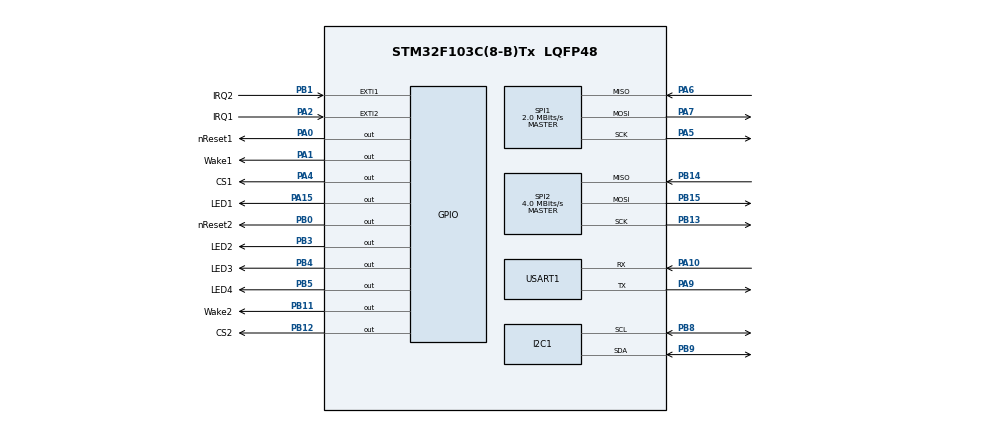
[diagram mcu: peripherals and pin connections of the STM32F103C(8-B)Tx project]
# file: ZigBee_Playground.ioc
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Mcu.Family=STM32F1
Mcu.Name=STM32F103C(8-B)Tx
Mcu.Package=LQFP48
NVIC.EXTI1_IRQn=true\:0\:0\:false\:false\:true\:true
NVIC.EXTI2_IRQn=true\:0\:0\:false\:false\:true\:true
NVIC.PriorityGroup=NVIC_PRIORITYGROUP_4
PA0-WKUP.GPIO_Label=nReset1
PA0-WKUP.Signal=GPIO_Output
PA1.GPIO_Label=Wake1
PA1.Signal=GPIO_Output
PA10.Mode=Asynchronous
PA10.Signal=USART1_RX
PA13.Mode=Serial_Wire
PA13.Signal=SYS_JTMS-SWDIO
PA14.Mode=Serial_Wire
PA14.Signal=SYS_JTCK-SWCLK
PA15.GPIO_Label=LED1
PA15.Signal=GPIO_Output
PA2.GPIO_Label=IRQ1
PA2.Signal=GPXTI2
PA4.GPIO_Label=CS1
PA4.Signal=GPIO_Output
PA5.Mode=Full_Duplex_Master
PA5.Signal=SPI1_SCK
PA6.Mode=Full_Duplex_Master
PA6.Signal=SPI1_MISO
PA7.Mode=Full_Duplex_Master
PA7.Signal=SPI1_MOSI
PA9.Mode=Asynchronous
PA9.Signal=USART1_TX
PB0.GPIO_Label=nReset2
PB0.Signal=GPIO_Output
PB1.GPIO_Label=IRQ2
PB1.Signal=GPXTI1
PB11.GPIO_Label=Wake2
PB11.Signal=GPIO_Output
PB12.GPIO_Label=CS2
PB12.Signal=GPIO_Output
PB13.Mode=Full_Duplex_Master
PB13.Signal=SPI2_SCK
PB14.Mode=Full_Duplex_Master
PB14.Signal=SPI2_MISO
PB15.Mode=Full_Duplex_Master
PB15.Signal=SPI2_MOSI
PB3.GPIO_Label=LED2
PB3.Signal=GPIO_Output
PB4.GPIO_Label=LED3
PB4.Signal=GPIO_Output
PB5.GPIO_Label=LED4
PB5.Signal=GPIO_Output
PB8.Mode=I2C
PB8.Signal=I2C1_SCL
PB9.Mode=I2C
PB9.Signal=I2C1_SDA
PD0-OSC_IN.Mode=HSE-External-Oscillator
PD0-OSC_IN.Signal=RCC_OSC_IN
PD1-OSC_OUT.Mode=HSE-External-Oscillator
PD1-OSC_OUT.Signal=RCC_OSC_OUT
ProjectManager.HeapSize=0x200
ProjectManager.StackSize=0x400
ProjectManager.TargetToolchain=MDK-ARM V5
RCC.APB1Freq_Value=8000000
RCC.APB2Freq_Value=8000000
SPI1.BaudRatePrescaler=SPI_BAUDRATEPRESCALER_4
SPI1.CalculateBaudRate=2.0 MBits/s
SPI1.Direction=SPI_DIRECTION_2LINES
SPI1.Mode=SPI_MODE_MASTER
SPI1.VirtualType=VM_MASTER
SPI2.CalculateBaudRate=4.0 MBits/s
SPI2.Direction=SPI_DIRECTION_2LINES
SPI2.Mode=SPI_MODE_MASTER
SPI2.VirtualType=VM_MASTER
USART1.VirtualMode=VM_ASYNC
board=ZigBee_Playground

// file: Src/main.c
/**
  ******************************************************************************
  * @file           : main.c
  * @brief          : Main program body
  ******************************************************************************
  ** This notice applies to any and all portions of this file
  * that are not between comment pairs USER CODE BEGIN and
  * USER CODE END. Other portions of this file, whether
  * inserted by the user or by software development tools
  * are owned by their respective copyright owners.
  *
  * COPYRIGHT(c) 2018 STMicroelectronics
  *
  * Redistribution and use in source and binary forms, with or without modification,
  * are permitted provided that the following conditions are met:
  *   1. Redistributions of source code must retain the above copyright notice,
  *      this list of conditions and the following disclaimer.
  *   2. Redistributions in binary form must reproduce the above copyright notice,
  *      this list of conditions and the following disclaimer in the documentation
  *      and/or other materials provided with the distribution.
  *   3. Neither the name of STMicroelectronics nor the names of its contributors
  *      may be used to endorse or promote products derived from this software
  *      without specific prior written permission.
  *
  * THIS SOFTWARE IS PROVIDED BY THE COPYRIGHT HOLDERS AND CONTRIBUTORS "AS IS"
  * AND ANY EXPRESS OR IMPLIED WARRANTIES, INCLUDING, BUT NOT LIMITED TO, THE
  * IMPLIED WARRANTIES OF MERCHANTABILITY AND FITNESS FOR A PARTICULAR PURPOSE ARE
  * DISCLAIMED. IN NO EVENT SHALL THE COPYRIGHT HOLDER OR CONTRIBUTORS BE LIABLE
  * FOR ANY DIRECT, INDIRECT, INCIDENTAL, SPECIAL, EXEMPLARY, OR CONSEQUENTIAL
  * DAMAGES (INCLUDING, BUT NOT LIMITED TO, PROCUREMENT OF SUBSTITUTE GOODS OR
  * SERVICES; LOSS OF USE, DATA, OR PROFITS; OR BUSINESS INTERRUPTION) HOWEVER
  * CAUSED AND ON ANY THEORY OF LIABILITY, WHETHER IN CONTRACT, STRICT LIABILITY,
  * OR TORT (INCLUDING NEGLIGENCE OR OTHERWISE) ARISING IN ANY WAY OUT OF THE USE
  * OF THIS SOFTWARE, EVEN IF ADVISED OF THE POSSIBILITY OF SUCH DAMAGE.
  *
  ******************************************************************************
  */
#include "main.h"
#include "stm32f1xx_hal.h"

/* USER CODE BEGIN Includes */
#include "MRF24J40.h"
#include "mrf24j40_memmap.h"
#include "mrf24j40if.h"
#include "lcd_i2c.h"
#include "string.h"
/* USER CODE END Includes */

I2C_HandleTypeDef hi2c1;

SPI_HandleTypeDef hspi1;
SPI_HandleTypeDef hspi2;

UART_HandleTypeDef huart1;

/* USER CODE BEGIN PV */
/* Private variables ---------------------------------------------------------*/
uint8_t push[32];
char * push_p = (char *) &push;
uint8_t pull[32];
char * pull_p = (char *) &pull;
uint8_t uart_str[32];
char * uart_str_p = (char *) &uart_str;
uint8_t i;
/* USER CODE END PV */

void SystemClock_Config(void);
static void MX_GPIO_Init(void);
static void MX_SPI1_Init(void);
static void MX_USART1_UART_Init(void);
static void MX_I2C1_Init(void);
static void MX_SPI2_Init(void);

/* USER CODE BEGIN PFP */
/* Private function prototypes -----------------------------------------------*/

/* USER CODE END PFP */

/* USER CODE BEGIN 0 */
MRF24J40_DEVICE mrf1, mrf2;
//MRF24L01_DEVICE* dev;
/* USER CODE END 0 */

int main(void)
{

  /* MCU Configuration----------------------------------------------------------*/

  /* Reset of all peripherals, Initializes the Flash interface and the Systick. */
  HAL_Init();

  /* Configure the system clock */
  SystemClock_Config();

  /* Initialize all configured peripherals */
  MX_GPIO_Init();
  MX_SPI1_Init();
  MX_USART1_UART_Init();
  MX_I2C1_Init();
  MX_SPI2_Init();
  /* USER CODE BEGIN 2 */
  LCDDriver LCDD1;
  if ( lcdStart (&LCDD1, &hi2c1, 0x7E) == LCD_OK)
  {
/*DEBUG LINE*/   HAL_GPIO_WritePin(LED4_GPIO_Port, LED4_Pin, GPIO_PIN_SET);
    lcdWriteStringXY (&LCDD1, "What's up", 4,11);
    lcdPutString(&LCDD1, "Hey");
  }
 ;

                /*============HERE STARTS FUN============*/
  dev_main=&mrf1;
  dev_main->interface.MRF_RESET_GPIOx = GPIOA;
  dev_main->interface.MRF_RESET_GPIO_PIN = GPIO_PIN_0;
  dev_main->interface.MRF_WAKE_GPIOx = GPIOA;
  dev_main->interface.MRF_WAKE_GPIO_PIN = GPIO_PIN_1;
  dev_main->interface.MRF_IRQ_GPIOx = GPIOA;
  dev_main->interface.MRF_IRQ_GPIO_PIN = GPIO_PIN_2;
  dev_main->interface.MRF_IRQn = EXTI2_IRQn;
  dev_main->interface.MRF_CSN_GPIOx = GPIOA;
  dev_main->interface.MRF_CSN_GPIO_PIN = GPIO_PIN_4;
  dev_main->interface.spi = &hspi1;
  RadioInit();
  if (MRF_PostInitCheck(dev_main) == MRF_OK)
  {
      sprintf (push_p, "\nBattlecruiser operational.\n");
/*DEBUG LINE*/      HAL_GPIO_WritePin (LED2_GPIO_Port, LED2_Pin, GPIO_PIN_SET);
  }
  else
  {
      sprintf (push_p, "\nIt's a trap!\nError code: 0x%lx \n",dev_main->RadioStatus.ErrorLevel);
/*DEBUG LINE*/      HAL_GPIO_WritePin (LED3_GPIO_Port, LED3_Pin, GPIO_PIN_SET);
  }
  HAL_UART_Transmit(&huart1, push, strlen (push_p), 100);
  sprintf (pull_p, "INTSTAT = 0x%x\n", ReadRegister(INTSTAT));
  HAL_UART_Transmit(&huart1, pull, strlen (pull_p), 100);
  sprintf (pull_p, "INTCON = 0x%x\n", ReadRegister(INTCON));
  HAL_UART_Transmit(&huart1, pull, strlen (pull_p), 100);

                /*============HERE FUN DOUBLES UP============*/
  dev_main=&mrf2;
  dev_main->interface.MRF_RESET_GPIOx = GPIOB;
  dev_main->interface.MRF_RESET_GPIO_PIN = GPIO_PIN_0;
  dev_main->interface.MRF_IRQ_GPIOx = GPIOB;
  dev_main->interface.MRF_IRQ_GPIO_PIN = GPIO_PIN_1;
  dev_main->interface.MRF_IRQn = EXTI1_IRQn;
  dev_main->interface.MRF_WAKE_GPIOx = GPIOB;
  dev_main->interface.MRF_WAKE_GPIO_PIN = GPIO_PIN_11;
  dev_main->interface.MRF_CSN_GPIOx = GPIOB;
  dev_main->interface.MRF_CSN_GPIO_PIN = GPIO_PIN_12;
  dev_main->interface.spi = &hspi2;
  RadioInit();
  if (MRF_PostInitCheck(dev_main) == MRF_OK)
  {
      sprintf (push_p, "\nCARRIER HAS ARRIVED\n");
/*DEBUG LINE*/      HAL_GPIO_WritePin (LED2_GPIO_Port, LED2_Pin, GPIO_PIN_SET);
  }
  else
  {
      sprintf (push_p, "\nCAN'T HEAR ME\nError code: 0x%lx \n",dev_main->RadioStatus.ErrorLevel);
/*DEBUG LINE*/      HAL_GPIO_WritePin (LED3_GPIO_Port, LED3_Pin, GPIO_PIN_SET);
  }
  HAL_UART_Transmit(&huart1, push, strlen (push_p), 100);
  sprintf (pull_p, "INTSTAT = 0x%x\n", ReadRegister(INTSTAT));
  HAL_UART_Transmit(&huart1, pull, strlen (pull_p), 100);
  sprintf (pull_p, "INTCON = 0x%x\n", ReadRegister(INTCON));
  HAL_UART_Transmit(&huart1, pull, strlen (pull_p), 100);

  /* USER CODE END 2 */

  /* Infinite loop */
  while (1)
  {

  /* USER CODE BEGIN 3 */
    HAL_GPIO_TogglePin(LED1_GPIO_Port, LED1_Pin);
      HAL_Delay(250);
  }
  /* USER CODE END 3 */

}

void SystemClock_Config(void)
{

  RCC_OscInitTypeDef RCC_OscInitStruct;
  RCC_ClkInitTypeDef RCC_ClkInitStruct;

    /**Initializes the CPU, AHB and APB busses clocks
    */
  RCC_OscInitStruct.OscillatorType = RCC_OSCILLATORTYPE_HSI;
  RCC_OscInitStruct.HSIState = RCC_HSI_ON;
  RCC_OscInitStruct.HSICalibrationValue = 16;
  RCC_OscInitStruct.PLL.PLLState = RCC_PLL_NONE;
  if (HAL_RCC_OscConfig(&RCC_OscInitStruct) != HAL_OK)
  {
    _Error_Handler(__FILE__, __LINE__);
  }

    /**Initializes the CPU, AHB and APB busses clocks
    */
  RCC_ClkInitStruct.ClockType = RCC_CLOCKTYPE_HCLK|RCC_CLOCKTYPE_SYSCLK
                              |RCC_CLOCKTYPE_PCLK1|RCC_CLOCKTYPE_PCLK2;
  RCC_ClkInitStruct.SYSCLKSource = RCC_SYSCLKSOURCE_HSI;
  RCC_ClkInitStruct.AHBCLKDivider = RCC_SYSCLK_DIV1;
  RCC_ClkInitStruct.APB1CLKDivider = RCC_HCLK_DIV1;
  RCC_ClkInitStruct.APB2CLKDivider = RCC_HCLK_DIV1;

  if (HAL_RCC_ClockConfig(&RCC_ClkInitStruct, FLASH_LATENCY_0) != HAL_OK)
  {
    _Error_Handler(__FILE__, __LINE__);
  }

    /**Configure the Systick interrupt time
    */
  HAL_SYSTICK_Config(HAL_RCC_GetHCLKFreq()/1000);

    /**Configure the Systick
    */
  HAL_SYSTICK_CLKSourceConfig(SYSTICK_CLKSOURCE_HCLK);

  /* SysTick_IRQn interrupt configuration */
  HAL_NVIC_SetPriority(SysTick_IRQn, 0, 0);
}

/* I2C1 init function */
static void MX_I2C1_Init(void)
{

  hi2c1.Instance = I2C1;
  hi2c1.Init.ClockSpeed = 100000;
  hi2c1.Init.DutyCycle = I2C_DUTYCYCLE_2;
  hi2c1.Init.OwnAddress1 = 0;
  hi2c1.Init.AddressingMode = I2C_ADDRESSINGMODE_7BIT;
  hi2c1.Init.DualAddressMode = I2C_DUALADDRESS_DISABLE;
  hi2c1.Init.OwnAddress2 = 0;
  hi2c1.Init.GeneralCallMode = I2C_GENERALCALL_DISABLE;
  hi2c1.Init.NoStretchMode = I2C_NOSTRETCH_DISABLE;
  if (HAL_I2C_Init(&hi2c1) != HAL_OK)
  {
    _Error_Handler(__FILE__, __LINE__);
  }

}

/* SPI1 init function */
static void MX_SPI1_Init(void)
{

  /* SPI1 parameter configuration*/
  hspi1.Instance = SPI1;
  hspi1.Init.Mode = SPI_MODE_MASTER;
  hspi1.Init.Direction = SPI_DIRECTION_2LINES;
  hspi1.Init.DataSize = SPI_DATASIZE_8BIT;
  hspi1.Init.CLKPolarity = SPI_POLARITY_LOW;
  hspi1.Init.CLKPhase = SPI_PHASE_1EDGE;
  hspi1.Init.NSS = SPI_NSS_SOFT;
  hspi1.Init.BaudRatePrescaler = SPI_BAUDRATEPRESCALER_4;
  hspi1.Init.FirstBit = SPI_FIRSTBIT_MSB;
  hspi1.Init.TIMode = SPI_TIMODE_DISABLE;
  hspi1.Init.CRCCalculation = SPI_CRCCALCULATION_DISABLE;
  hspi1.Init.CRCPolynomial = 10;
  if (HAL_SPI_Init(&hspi1) != HAL_OK)
  {
    _Error_Handler(__FILE__, __LINE__);
  }

}

/* SPI2 init function */
static void MX_SPI2_Init(void)
{

  /* SPI2 parameter configuration*/
  hspi2.Instance = SPI2;
  hspi2.Init.Mode = SPI_MODE_MASTER;
  hspi2.Init.Direction = SPI_DIRECTION_2LINES;
  hspi2.Init.DataSize = SPI_DATASIZE_8BIT;
  hspi2.Init.CLKPolarity = SPI_POLARITY_LOW;
  hspi2.Init.CLKPhase = SPI_PHASE_1EDGE;
  hspi2.Init.NSS = SPI_NSS_SOFT;
  hspi2.Init.BaudRatePrescaler = SPI_BAUDRATEPRESCALER_2;
  hspi2.Init.FirstBit = SPI_FIRSTBIT_MSB;
  hspi2.Init.TIMode = SPI_TIMODE_DISABLE;
  hspi2.Init.CRCCalculation = SPI_CRCCALCULATION_DISABLE;
  hspi2.Init.CRCPolynomial = 10;
  if (HAL_SPI_Init(&hspi2) != HAL_OK)
  {
    _Error_Handler(__FILE__, __LINE__);
  }

}

/* USART1 init function */
static void MX_USART1_UART_Init(void)
{

  huart1.Instance = USART1;
  huart1.Init.BaudRate = 115200;
  huart1.Init.WordLength = UART_WORDLENGTH_8B;
  huart1.Init.StopBits = UART_STOPBITS_1;
  huart1.Init.Parity = UART_PARITY_NONE;
  huart1.Init.Mode = UART_MODE_TX_RX;
  huart1.Init.HwFlowCtl = UART_HWCONTROL_NONE;
  huart1.Init.OverSampling = UART_OVERSAMPLING_16;
  if (HAL_UART_Init(&huart1) != HAL_OK)
  {
    _Error_Handler(__FILE__, __LINE__);
  }

}

/** Configure pins as
        * Analog
        * Input
        * Output
        * EVENT_OUT
        * EXTI
*/
static void MX_GPIO_Init(void)
{

  GPIO_InitTypeDef GPIO_InitStruct;

  /* GPIO Ports Clock Enable */
  __HAL_RCC_GPIOD_CLK_ENABLE();
  __HAL_RCC_GPIOA_CLK_ENABLE();
  __HAL_RCC_GPIOB_CLK_ENABLE();

  /*Configure GPIO pin Output Level */
  HAL_GPIO_WritePin(GPIOA, nReset1_Pin|Wake1_Pin|CS1_Pin|LED1_Pin, GPIO_PIN_RESET);

  /*Configure GPIO pin Output Level */
  HAL_GPIO_WritePin(GPIOB, nReset2_Pin|Wake2_Pin|CS2_Pin|LED2_Pin
                          |LED3_Pin|LED4_Pin, GPIO_PIN_RESET);

  /*Configure GPIO pins : nReset1_Pin Wake1_Pin CS1_Pin LED1_Pin */
  GPIO_InitStruct.Pin = nReset1_Pin|Wake1_Pin|CS1_Pin|LED1_Pin;
  GPIO_InitStruct.Mode = GPIO_MODE_OUTPUT_PP;
  GPIO_InitStruct.Speed = GPIO_SPEED_FREQ_LOW;
  HAL_GPIO_Init(GPIOA, &GPIO_InitStruct);

  /*Configure GPIO pin : IRQ1_Pin */
  GPIO_InitStruct.Pin = IRQ1_Pin;
  GPIO_InitStruct.Mode = GPIO_MODE_IT_RISING;
  GPIO_InitStruct.Pull = GPIO_NOPULL;
  HAL_GPIO_Init(IRQ1_GPIO_Port, &GPIO_InitStruct);

  /*Configure GPIO pins : nReset2_Pin Wake2_Pin CS2_Pin LED2_Pin
                           LED3_Pin LED4_Pin */
  GPIO_InitStruct.Pin = nReset2_Pin|Wake2_Pin|CS2_Pin|LED2_Pin
                          |LED3_Pin|LED4_Pin;
  GPIO_InitStruct.Mode = GPIO_MODE_OUTPUT_PP;
  GPIO_InitStruct.Speed = GPIO_SPEED_FREQ_LOW;
  HAL_GPIO_Init(GPIOB, &GPIO_InitStruct);

  /*Configure GPIO pin : IRQ2_Pin */
  GPIO_InitStruct.Pin = IRQ2_Pin;
  GPIO_InitStruct.Mode = GPIO_MODE_IT_RISING;
  GPIO_InitStruct.Pull = GPIO_NOPULL;
  HAL_GPIO_Init(IRQ2_GPIO_Port, &GPIO_InitStruct);

  /* EXTI interrupt init*/
  HAL_NVIC_SetPriority(EXTI1_IRQn, 0, 0);
  //HAL_NVIC_EnableIRQ(EXTI1_IRQn);

  HAL_NVIC_SetPriority(EXTI2_IRQn, 0, 0);
  //HAL_NVIC_EnableIRQ(EXTI2_IRQn);

}

void _Error_Handler(char *file, int line)
{
  while(1)
  {
  }
}

/************************ (C) COPYRIGHT STMicroelectronics *****END OF FILE****/
